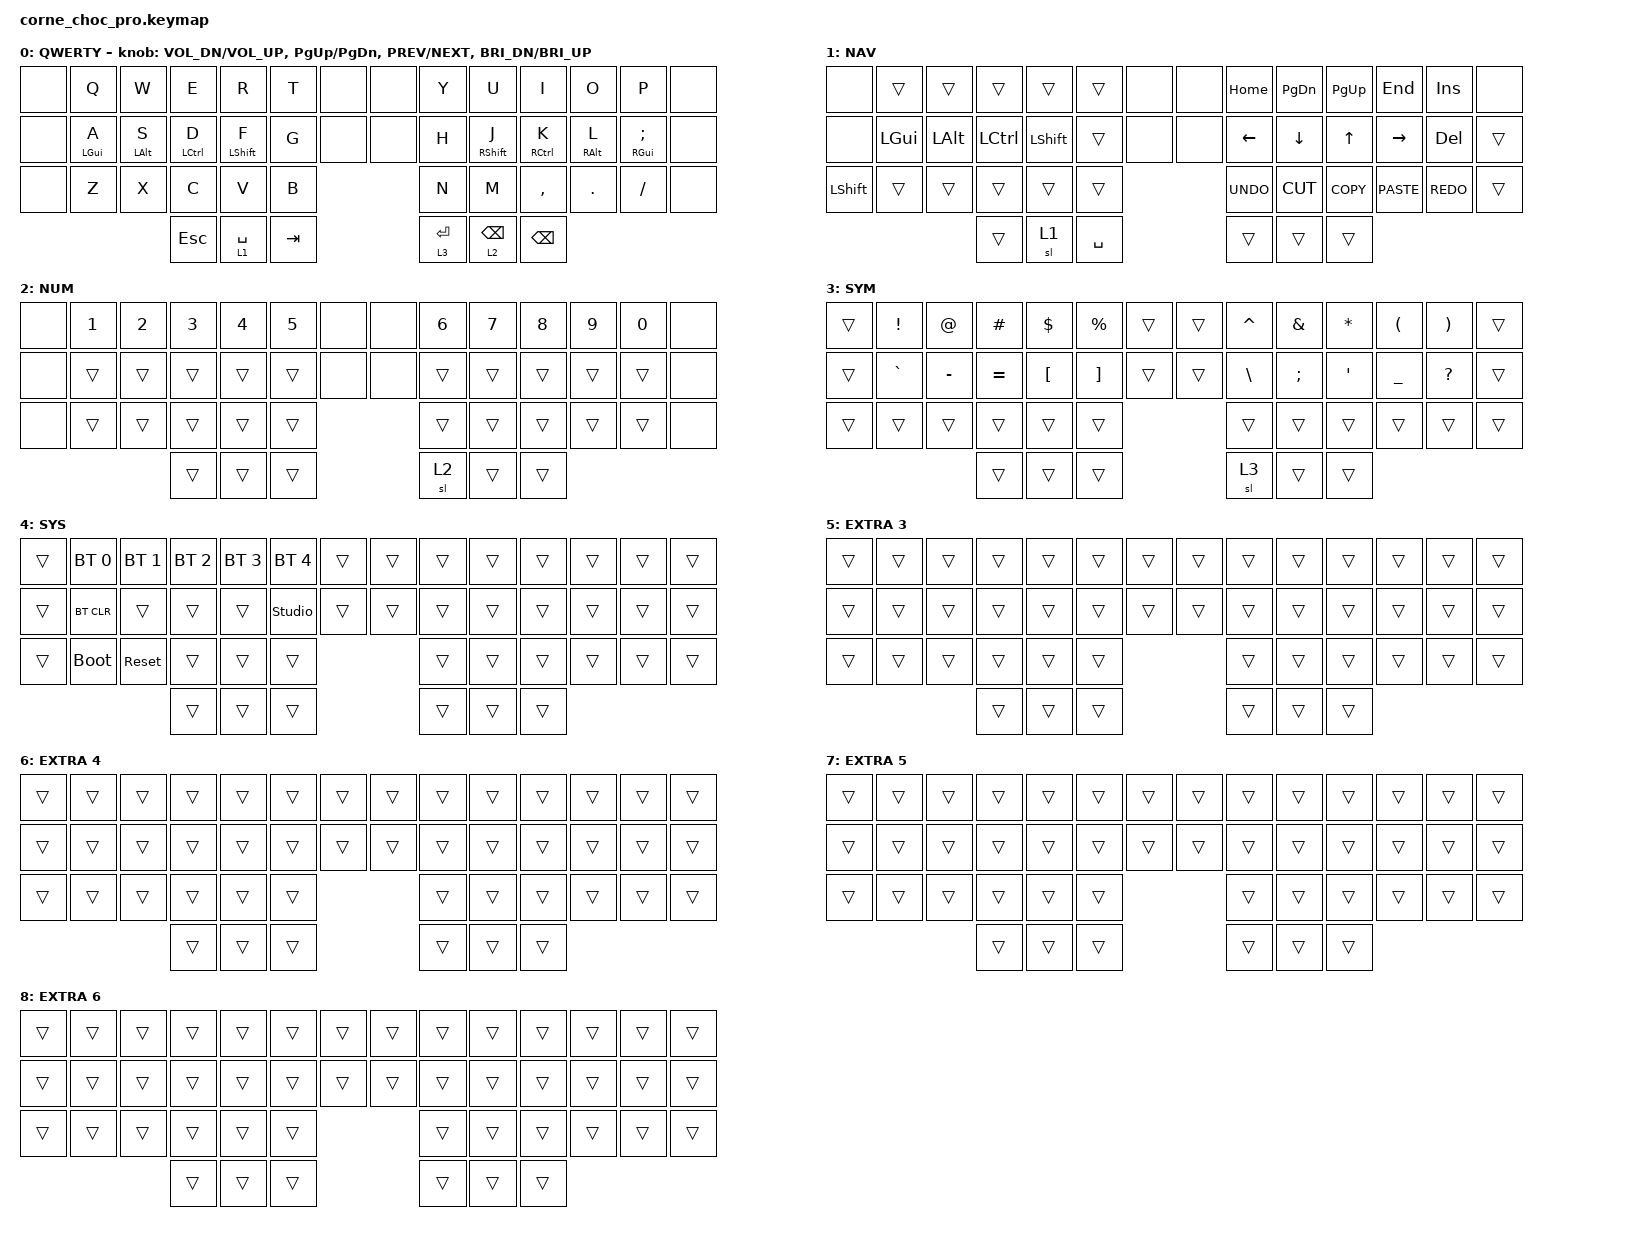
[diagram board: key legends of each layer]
/*
 * Copyright (c) 2020 The ZMK Contributors
 *
 * SPDX-License-Identifier: MIT
 */

#include <behaviors.dtsi>
#include <dt-bindings/zmk/bt.h>
#include <dt-bindings/zmk/keys.h>

/ {
    chosen { zmk,physical-layout = &default_layout; };
};

/ {
    combos { compatible = "zmk,combos"; };

    keymap {
        compatible = "zmk,keymap";

        default_layer {
            display-name = "QWERTY";

            // --------------------------------------------------------------------------------
            // |  TAB |  Q  |  W  |  E  |  R  |  T  |  MUTE |  PP   |  Y  |  U   |  I  |  O  |  P  | BSPC |
            // | CTRL |  A  |  S  |  D  |  F  |  G  |  LALT |  RALT |  H  |  J   |  K  |  L  |  ;  |  '   |
            // | SHFT |  Z  |  X  |  C  |  V  |  B  |               |  N  |  M   |  ,  |  .  |  /  | ESC  |
            //                    | GUI | LWR | SPC |               | ENT | RSE  | ALT |

            bindings = <
&none  &kp Q       &kp W           &kp E        &kp R             &kp T    &none  &none  &kp Y        &kp U              &kp I          &kp O            &kp P               &none
&none  &mt LGUI A  &mt LEFT_ALT S  &mt LCTRL D  &mt LEFT_SHIFT F  &kp G    &none  &none  &kp H        &mt RIGHT_SHIFT J  &mt RCTRL K    &mt RIGHT_ALT L  &mt RIGHT_GUI SEMI  &none
&none  &kp Z       &kp X           &kp C        &kp V             &kp B                  &kp N        &kp M              &kp COMMA      &kp DOT          &kp FSLH            &none
                                   &kp ESCAPE   &lt 1 SPACE       &kp TAB                &lt 3 ENTER  &lt 2 BACKSPACE    &kp BACKSPACE
            >;

            sensor-bindings = <&inc_dec_kp C_VOL_DN C_VOL_UP &inc_dec_kp PG_UP PG_DN &inc_dec_kp C_PREV C_NEXT &inc_dec_kp C_BRI_DN C_BRI_UP>;
        };

        nav {
            display-name = "NAV";

            // -----------------------------------------------------------------------------------------
            // |  TAB |  1  |  2  |  3  |  4  |  5    |  LCTRL | RCTRL |  6  |  7  |  8  |  9  |  0  | BSPC |
            // | CTRL | BT1 | BT2 | BT3 | BT4 | BT5   |  LALT  | RALT  | LFT | DWN |  UP | RGT |     |      |
            // | SHFT | BTCR| RGB | RST | BOOT| Unlock|        |       |     |     |     |     |     |      |
            //                    | GUI |     | SPC   |        | ENT   |     | ALT |

            bindings = <
&none      &trans        &trans        &trans     &trans          &trans     &none  &none  &kp HOME    &kp PAGE_DOWN  &kp PG_UP   &kp END      &kp INS     &none
&none      &kp LEFT_GUI  &kp LEFT_ALT  &kp LCTRL  &kp LEFT_SHIFT  &trans     &none  &none  &kp LEFT    &kp DOWN       &kp UP      &kp RIGHT    &kp DEL     &trans
&kp LSHFT  &trans        &trans        &trans     &trans          &trans                   &kp K_UNDO  &kp K_CUT      &kp K_COPY  &kp K_PASTE  &kp K_REDO  &trans
                                       &trans     &sl 1           &kp SPACE                &trans      &trans         &trans
            >;
        };

        num {
            display-name = "NUM";

            // -----------------------------------------------------------------------------------------
            // |  TAB |  !  |  @  |  #  |  $  |  %  | LCTRL | RCTRL |  ^  |  &  |  *  |  (  |  )  | BSPC |
            // | CTRL |     |     |     |     |     |  LALT | RALT  |  -  |  =  |  [  |  ]  |  \  |  `   |
            // | SHFT |     |     |     |     |     |               |  _  |  +  |  {  |  }  | "|" |  ~   |
            //                    | GUI |     | SPC |               | ENT |     | ALT |

            bindings = <
&none  &kp NUMBER_1  &kp NUMBER_2  &kp NUMBER_3  &kp NUMBER_4  &kp N5  &none  &none  &kp NUMBER_6  &kp NUMBER_7  &kp NUMBER_8  &kp NUMBER_9  &kp NUMBER_0  &none
&none  &trans        &trans        &trans        &trans        &trans  &none  &none  &trans        &trans        &trans        &trans        &trans        &none
&none  &trans        &trans        &trans        &trans        &trans                &trans        &trans        &trans        &trans        &trans        &none
                                   &trans        &trans        &trans                &sl 2         &trans        &trans
            >;
        };

        sym {
            display-name = "SYM";
            bindings = <
&trans  &kp EXCLAMATION  &kp AT_SIGN  &kp HASH   &kp DOLLAR        &kp PERCENT        &trans  &trans  &kp CARET      &kp AMPERSAND  &kp ASTERISK  &kp LEFT_PARENTHESIS  &kp RIGHT_PARENTHESIS  &trans
&trans  &kp GRAVE        &kp MINUS    &kp EQUAL  &kp LEFT_BRACKET  &kp RIGHT_BRACKET  &trans  &trans  &kp BACKSLASH  &kp SEMICOLON  &kp SQT       &kp UNDERSCORE        &kp QUESTION           &trans
&trans  &trans           &trans       &trans     &trans            &trans                             &trans         &trans         &trans        &trans                &trans                 &trans
                                      &trans     &trans            &trans                             &sl 3          &trans         &trans
            >;
        };

        sys {
            display-name = "SYS";
            bindings = <
&trans  &bt BT_SEL 0  &bt BT_SEL 1  &bt BT_SEL 2  &bt BT_SEL 3  &bt BT_SEL 4    &trans  &trans  &trans  &trans  &trans  &trans  &trans  &trans
&trans  &bt BT_CLR    &trans        &trans        &trans        &studio_unlock  &trans  &trans  &trans  &trans  &trans  &trans  &trans  &trans
&trans  &bootloader   &sys_reset    &trans        &trans        &trans                          &trans  &trans  &trans  &trans  &trans  &trans
                                    &trans        &trans        &trans                          &trans  &trans  &trans
            >;
        };

        extra_layer_3 {
            display-name = "EXTRA 3";
            bindings = <
&trans  &trans  &trans  &trans  &trans  &trans  &trans  &trans  &trans  &trans  &trans  &trans  &trans  &trans
&trans  &trans  &trans  &trans  &trans  &trans  &trans  &trans  &trans  &trans  &trans  &trans  &trans  &trans
&trans  &trans  &trans  &trans  &trans  &trans                  &trans  &trans  &trans  &trans  &trans  &trans
                        &trans  &trans  &trans                  &trans  &trans  &trans
            >;
        };

        extra_layer_4 {
            display-name = "EXTRA 4";
            bindings = <
&trans  &trans  &trans  &trans  &trans  &trans  &trans  &trans  &trans  &trans  &trans  &trans  &trans  &trans
&trans  &trans  &trans  &trans  &trans  &trans  &trans  &trans  &trans  &trans  &trans  &trans  &trans  &trans
&trans  &trans  &trans  &trans  &trans  &trans                  &trans  &trans  &trans  &trans  &trans  &trans
                        &trans  &trans  &trans                  &trans  &trans  &trans
            >;
        };

        extra_layer_5 {
            display-name = "EXTRA 5";
            bindings = <
&trans  &trans  &trans  &trans  &trans  &trans  &trans  &trans  &trans  &trans  &trans  &trans  &trans  &trans
&trans  &trans  &trans  &trans  &trans  &trans  &trans  &trans  &trans  &trans  &trans  &trans  &trans  &trans
&trans  &trans  &trans  &trans  &trans  &trans                  &trans  &trans  &trans  &trans  &trans  &trans
                        &trans  &trans  &trans                  &trans  &trans  &trans
            >;
        };

        extra_layer_6 {
            display-name = "EXTRA 6";
            bindings = <
&trans  &trans  &trans  &trans  &trans  &trans  &trans  &trans  &trans  &trans  &trans  &trans  &trans  &trans
&trans  &trans  &trans  &trans  &trans  &trans  &trans  &trans  &trans  &trans  &trans  &trans  &trans  &trans
&trans  &trans  &trans  &trans  &trans  &trans                  &trans  &trans  &trans  &trans  &trans  &trans
                        &trans  &trans  &trans                  &trans  &trans  &trans
            >;
        };
    };

    conditional_layers {
        compatible = "zmk,conditional-layers";

        sys {
            if-layers = <1 2>;
            then-layer = <4>;
        };
    };
};
